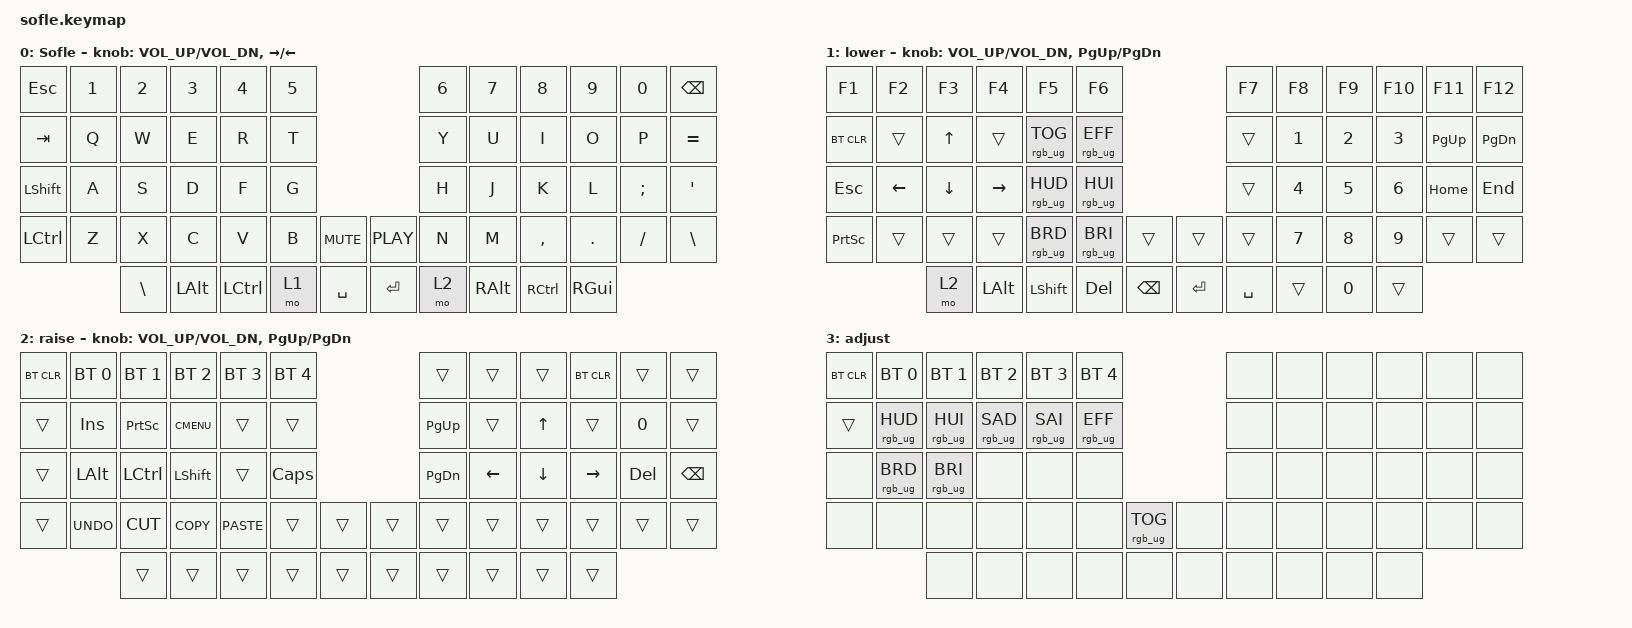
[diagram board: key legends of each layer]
//
// Copyright (c) 2024 The ZMK Contributors
//
// SPDX-License-Identifier: MIT
//
//               @@   @@@@@@@@@@@@  @@@@@@@@@@@@@@@@           @@@@         
//             @@@@@@         @@@@@@ @@@@@      @@@@           @@@@         
//           .@@@@@@@@           @@@@  @@@@     @@@@           @@@@         
//          @@@@   @@@@@         @@@@   @@@@@   @@@@           @@@@         
//        .@@@@      @@@@        @@@@ ,@@@@.    @@@@          @@@@          
//       @@@@         @@@@@   @@@@@@ @@@@@       @@@@@      @@@@@           
//     ,@@@@      @@@@@@@@@@@@@@@@ ,@@@@@@@@@@@@@  @@@@@@@@@@@@  
//
//      Custom keyboards, ergonomic and personalized interfaces 

#include <behaviors.dtsi>
#include <dt-bindings/zmk/bt.h>
#include <dt-bindings/zmk/keys.h>
#include <dt-bindings/zmk/rgb.h>

#define BASE 0
#define LOWER 1
#define RAISE 2
#define ADJUST 3

/ {
    // Activate ADJUST layer by pressing raise and lower

    conditional_layers {
        compatible = "zmk,conditional-layers";

        adjust_layer {
            if-layers = <LOWER RAISE>;
            then-layer = <ADJUST>;
        };
    };

    keymap {
        compatible = "zmk,keymap";

        default_layer {
            display-name = "Sofle";

            // ------------------------------------------------------------------------------------------------------------
            // |  ESC  |  1!  |  2@  |  3#  |  4$  |  5%  |                   |  6^  |  7&   |  8*   |  9(  |   0)  |   -_  |
            // |  TAB  |  Q   |  W   |  E   |  R   |  T   |                   |  Y   |  U    |  I    |  O   |   P   |   =+  |
            // | SHIFT |  A   |  S   |  D   |  F   |  G   |                   |  H   |  J    |  K    |  L   |   ;:  |   '"  |
            // | CTRL  |  Z   |  X   |  C   |  V   |  B   |  MUTE  |  | PLAY  |  N   |  M    |  ,<   |  .>  |   /?  |   \|  |
            //                | GUI  | ALT  | CTRL | LOWER|  SPACE |  | ENTER | RAISE|  ALT  | CTRL  | GUI  |

            bindings = <
&kp ESC    &kp N1  &kp N2    &kp N3    &kp N4     &kp N5                            &kp N6  &kp N7    &kp N8     &kp N9    &kp N0     &kp BACKSPACE
&kp TAB    &kp Q   &kp W     &kp E     &kp R      &kp T                             &kp Y   &kp U     &kp I      &kp O     &kp P      &kp EQUAL
&kp LSHFT  &kp A   &kp S     &kp D     &kp F      &kp G                             &kp H   &kp J     &kp K      &kp L     &kp SEMI   &kp SQT
&kp LCTRL  &kp Z   &kp X     &kp C     &kp V      &kp B   &kp C_MUTE    &kp C_PLAY  &kp N   &kp M     &kp COMMA  &kp DOT   &kp SLASH  &kp BSLH
                   &kp BSLH  &kp LALT  &kp LCTRL  &mo 1   &kp SPACE     &kp ENTER   &mo 2   &kp RALT  &kp RCTRL  &kp RGUI
            >;

            sensor-bindings = <&inc_dec_kp C_VOL_UP C_VOL_DN &inc_dec_kp RIGHT LEFT>;
        };

        lower_layer {
            display-name = "lower";

            // TODO: Some binds are waiting for shifted keycode support.
            // ------------------------------------------------------------------------------------------------------------
            // |  F1   |  F2 |  F3 |  F4  |  F5  |  F6  |                   |  F7  |  F8   |  F9   |  F10 |  F11  |  F12  |
            // | BTCLR |     | up  |      | RGB  |modRGB|                   |      |  1    |  2    |  3   |  PGUP |  PGDN |
            // | ESC   |  L  | dn  |  R   | hue- | hue+ |                   |      |  4    |  5    |  6   |  HOME |  END  |
            // | PSCRN |     |     |      | Bri- | Bri+ |        |  |       |      |  7    |  8    |  9   |       |       |
            //               | mo2 | alt  | SHF  | DEL  |  BSPC  |  | ENTER | SPACE|       |  0    |      |

            bindings = <
&kp F1     &kp F2    &kp F3    &kp F4     &kp F5           &kp F6                                  &kp F7     &kp F8  &kp F9  &kp F10  &kp F11    &kp F12
&bt BT_CLR   &trans    &kp UP    &trans     &rgb_ug RGB_TOG  &rgb_ug RGB_EFF                         &trans     &kp N1  &kp N2  &kp N3   &kp PG_UP  &kp PG_DN
&kp ESC    &kp LEFT  &kp DOWN  &kp RIGHT  &rgb_ug RGB_HUD  &rgb_ug RGB_HUI                         &trans     &kp N4  &kp N5  &kp N6   &kp HOME   &kp END
&kp PSCRN  &trans    &trans    &trans     &rgb_ug RGB_BRD  &rgb_ug RGB_BRI  &trans      &trans     &trans     &kp N7  &kp N8  &kp N9   &trans     &trans
                     &mo 2     &kp LALT   &kp LSHFT        &kp DEL          &kp BSPC    &kp ENTER  &kp SPACE  &trans  &kp N0  &trans
            >;

            sensor-bindings = <&inc_dec_kp C_VOL_UP C_VOL_DN &inc_dec_kp PG_UP PG_DN>;
        };

        raise_layer {
            display-name = "raise";

            // ------------------------------------------------------------------------------------------------------------
            // | BTCLR | BT1  | BT2  |  BT3  |  BT4  |  BT5 |                |      |      |       | BTCLR |       |       |
            // |       | INS  | PSCR | GUI   |       |      |                | PGUP |      |   ^   |       |       |       |
            // |       | ALT  | CTRL | SHIFT |       | CAPS |                | PGDN |   <- |   v   |  ->   |  DEL  | BKSPC |
            // |       | UNDO | CUT  | COPY  | PASTE |      |      |  |      |      |      |       |       |       |       |
            //                |      |       |       |      |      |  |      |      |      |       |       |

            bindings = <
&bt BT_CLR  &bt BT_SEL 0  &bt BT_SEL 1  &bt BT_SEL 2  &bt BT_SEL 3  &bt BT_SEL 4                    &trans     &trans    &trans    &bt BT_CLR &trans   &trans
&trans      &kp INS       &kp PSCRN     &kp K_CMENU   &trans        &trans                          &kp PG_UP  &trans    &kp UP    &trans     &kp N0   &trans
&trans      &kp LALT      &kp LCTRL     &kp LSHFT     &trans        &kp CLCK                        &kp PG_DN  &kp LEFT  &kp DOWN  &kp RIGHT  &kp DEL  &kp BSPC
&trans      &kp K_UNDO    &kp K_CUT     &kp K_COPY    &kp K_PASTE   &trans        &trans    &trans  &trans     &trans    &trans    &trans     &trans   &trans
                          &trans        &trans        &trans        &trans        &trans    &trans  &trans     &trans    &trans    &trans
            >;

            sensor-bindings = <&inc_dec_kp C_VOL_UP C_VOL_DN &inc_dec_kp PG_UP PG_DN>;
        };

        adjust_layer {
            // ----------------------------------------------------------------------------------------------------------------------------
            // | BTCLR  |  BT1    |  BT2    |   BT3   |   BT4   |   BT5   |                  |      |      |       |      |       |       |
            // |        | RGB_HUD | RGB_HUI | RGB_SAD | RGB_SAI | RGB_EFF |                  |      |      |       |      |       |       |
            // |        | RGB_BRD | RGB_BRI |         |         |         |                  |      |      |       |      |       |       |
            // |        |         |         |         |         |         | RGB_TOG | |      |      |      |       |      |       |       |
            //                    |         |         |         |         |         | |      |      |      |       |      |

            display-name = "adjust";
            bindings = <
&bt BT_CLR  &bt BT_SEL 0     &bt BT_SEL 1     &bt BT_SEL 2     &bt BT_SEL 3     &bt BT_SEL 4                               &none  &none  &none  &none  &none  &none
&trans      &rgb_ug RGB_HUD  &rgb_ug RGB_HUI  &rgb_ug RGB_SAD  &rgb_ug RGB_SAI  &rgb_ug RGB_EFF                            &none  &none  &none  &none  &none  &none
&none       &rgb_ug RGB_BRD  &rgb_ug RGB_BRI  &none            &none            &none                                      &none  &none  &none  &none  &none  &none
&none       &none            &none            &none            &none            &none            &rgb_ug RGB_TOG    &none  &none  &none  &none  &none  &none  &none
                             &none            &none            &none            &none            &none              &none  &none  &none  &none  &none
            >;
        };
    };
};
